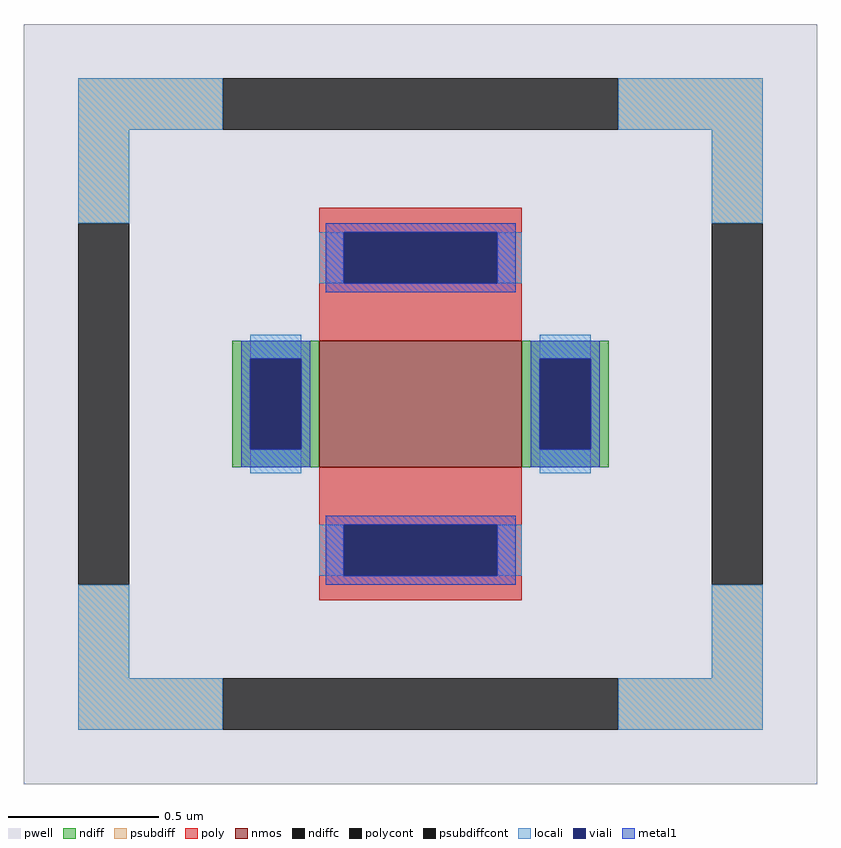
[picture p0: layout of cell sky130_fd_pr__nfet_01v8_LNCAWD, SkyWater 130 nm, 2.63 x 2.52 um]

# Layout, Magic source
magic
tech sky130A
magscale 1 2
<< pwell >>
rect -263 -252 263 252
<< nmos >>
rect -67 -42 67 42
<< ndiff >>
rect -125 30 -67 42
rect -125 -30 -113 30
rect -79 -30 -67 30
rect -125 -42 -67 -30
rect 67 30 125 42
rect 67 -30 79 30
rect 113 -30 125 30
rect 67 -42 125 -30
<< ndiffc >>
rect -113 -30 -79 30
rect 79 -30 113 30
<< psubdiff >>
rect -227 182 -131 216
rect 131 182 227 216
rect -227 120 -193 182
rect 193 120 227 182
rect -227 -182 -193 -120
rect 193 -182 227 -120
rect -227 -216 -131 -182
rect 131 -216 227 -182
<< psubdiffcont >>
rect -131 182 131 216
rect -227 -120 -193 120
rect 193 -120 227 120
rect -131 -216 131 -182
<< poly >>
rect -67 114 67 130
rect -67 80 -51 114
rect 51 80 67 114
rect -67 42 67 80
rect -67 -80 67 -42
rect -67 -114 -51 -80
rect 51 -114 67 -80
rect -67 -130 67 -114
<< polycont >>
rect -51 80 51 114
rect -51 -114 51 -80
<< locali >>
rect -227 182 -131 216
rect 131 182 227 216
rect -227 120 -193 182
rect 193 120 227 182
rect -67 80 -51 114
rect 51 80 67 114
rect -113 30 -79 46
rect -113 -46 -79 -30
rect 79 30 113 46
rect 79 -46 113 -30
rect -67 -114 -51 -80
rect 51 -114 67 -80
rect -227 -182 -193 -120
rect 193 -182 227 -120
rect -227 -216 -131 -182
rect 131 -216 227 -182
<< viali >>
rect -51 80 51 114
rect -113 -30 -79 30
rect 79 -30 113 30
rect -51 -114 51 -80
<< metal1 >>
rect -63 114 63 120
rect -63 80 -51 114
rect 51 80 63 114
rect -63 74 63 80
rect -119 30 -73 42
rect -119 -30 -113 30
rect -79 -30 -73 30
rect -119 -42 -73 -30
rect 73 30 119 42
rect 73 -30 79 30
rect 113 -30 119 30
rect 73 -42 119 -30
rect -63 -80 63 -74
rect -63 -114 -51 -80
rect 51 -114 63 -80
rect -63 -120 63 -114
<< properties >>
string FIXED_BBOX -210 -199 210 199
string gencell sky130_fd_pr__nfet_01v8
string library sky130
string parameters w 0.42 l 0.67 m 1 nf 1 diffcov 100 polycov 100 guard 1 glc 1 grc 1 gtc 1 gbc 1 tbcov 100 rlcov 100 topc 1 botc 1 poverlap 0 doverlap 1 lmin 0.15 wmin 0.42 compatible {sky130_fd_pr__nfet_01v8 sky130_fd_pr__nfet_01v8_lvt  sky130_fd_bs_flash__special_sonosfet_star  sky130_fd_pr__nfet_g5v0d10v5 sky130_fd_pr__nfet_05v0_nvt  sky130_fd_pr__nfet_03v3_nvt} full_metal 1 viasrc 100 viadrn 100 viagate 100 viagb 0 viagr 0 viagl 0 viagt 0
<< end >>
